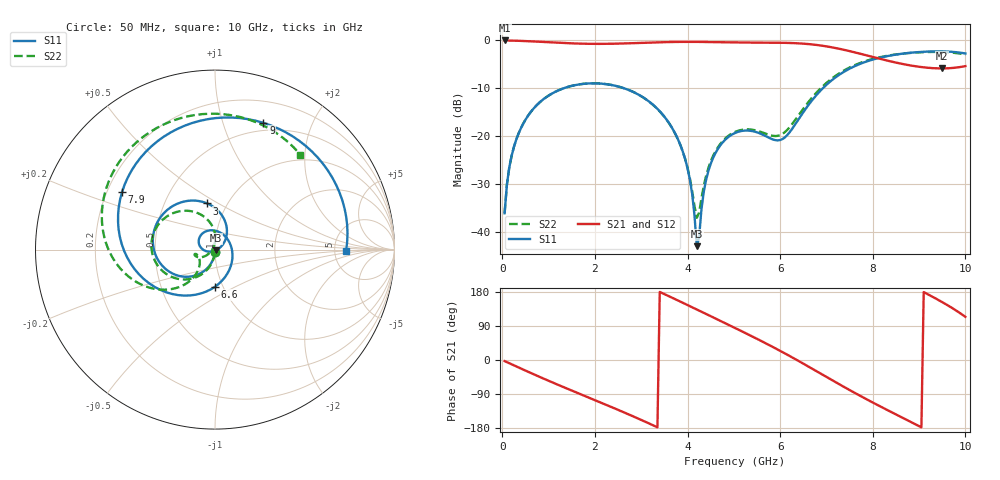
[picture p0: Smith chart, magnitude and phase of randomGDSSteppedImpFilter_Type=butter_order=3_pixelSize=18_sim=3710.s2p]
! freq	dB(S11)	phase(S11)	dB(S12)	phase(S12)
!  dB(S21)	phase(S21)	dB(S22)	phase(S22)
!S-par simulation data
#  GHz  S  DB  R 50
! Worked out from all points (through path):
!   200 points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, 50 MHz to 10 GHz, reference 50 ohm
!   highest |S21| = -0.01 dB at 50 MHz (marker M1); lowest = -5.9 dB at 9.5 GHz (marker M2)
!   group delay of S21, straight-line fit = 168 ps
!   lowest |S11| = -43.1 dB at 4.2 GHz (marker M3), VSWR 1.01, Z = 50.6 - j0.434 ohm
!   |S11| at or under -10 dB: start of sweep to 1.328 GHz; 2.626 GHz to 6.922 GHz (4.297 GHz wide, 90 % of centre)
!   |S22| runs from -37.1 to -2.4 dB; largest |S21 - S12| = 0
!   S11 on the Smith chart (normalised r, x): 50 MHz: 1.00, -0.03; 3 GHz: 0.81, +0.45; 6.6 GHz: 0.92, -0.40; 7.9 GHz: 0.26, +0.27; 9 GHz: 0.42, +1.37; 10 GHz: 6.40, -0.25
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0.05  -36.17 -92.7  -0.01 -2.9  -0.01 -2.9  -36.12 -92.4
0.2  -24.19 -102.3  -0.03 -11.3  -0.03 -11.3  -24.21 -100.8
0.5  -16.60 -120.0  -0.13 -27.9  -0.13 -27.9  -16.59 -116.8
1.1  -10.97 -154.2  -0.44 -60.1  -0.44 -60.1  -10.97 -147.1
1.75  -9.09 170.2  -0.69 -93.3  -0.69 -93.3  -9.08 -177.9
3  -11.67 99.6  -0.51 -158.1  -0.51 -158.1  -11.67 124.2
3.4  -14.83 74.6  -0.38 179.6  -0.38 179.6  -14.84 105.9
3.95  -24.88 35.0  -0.30 147.9  -0.30 147.9  -24.85 88.2
4.1  -32.12 17.2  -0.30 139.2  -0.30 139.2  -31.51 98.2
4.2  -43.06 -37.6  -0.31 133.3  -0.31 133.3  -37.11 143.9
4.35  -31.73 -153.7  -0.32 124.5  -0.32 124.5  -30.45 -151.5
4.5  -25.83 -170.7  -0.34 115.6  -0.34 115.6  -25.33 -145.9
5.05  -19.27 143.6  -0.42 83.1  -0.42 83.1  -19.05 -159.7
5.95  -20.92 26.8  -0.48 27.4  -0.48 27.4  -19.96 -152.1
6.6  -13.65 -90.3  -0.75 -16.5  -0.75 -16.5  -13.02 -128.7
6.7  -12.39 -102.2  -0.85 -23.5  -0.85 -23.5  -11.84 -130.9
7.3  -7.03 -161.9  -1.80 -65.6  -1.80 -65.6  -6.74 -155.6
7.9  -4.30 148.1  -3.21 -105.8  -3.21 -105.8  -4.15 173.7
8.35  -3.21 114.4  -4.31 -134.3  -4.31 -134.3  -3.15 150.4
9  -2.43 69.1  -5.52 -174.5  -5.52 -174.5  -2.49 115.9
9.5  -2.29 35.1  -5.86 152.7  -5.86 152.7  -2.43 86.0
10  -2.73 -0.7  -5.37 113.8  -5.37 113.8  -2.96 48.0
